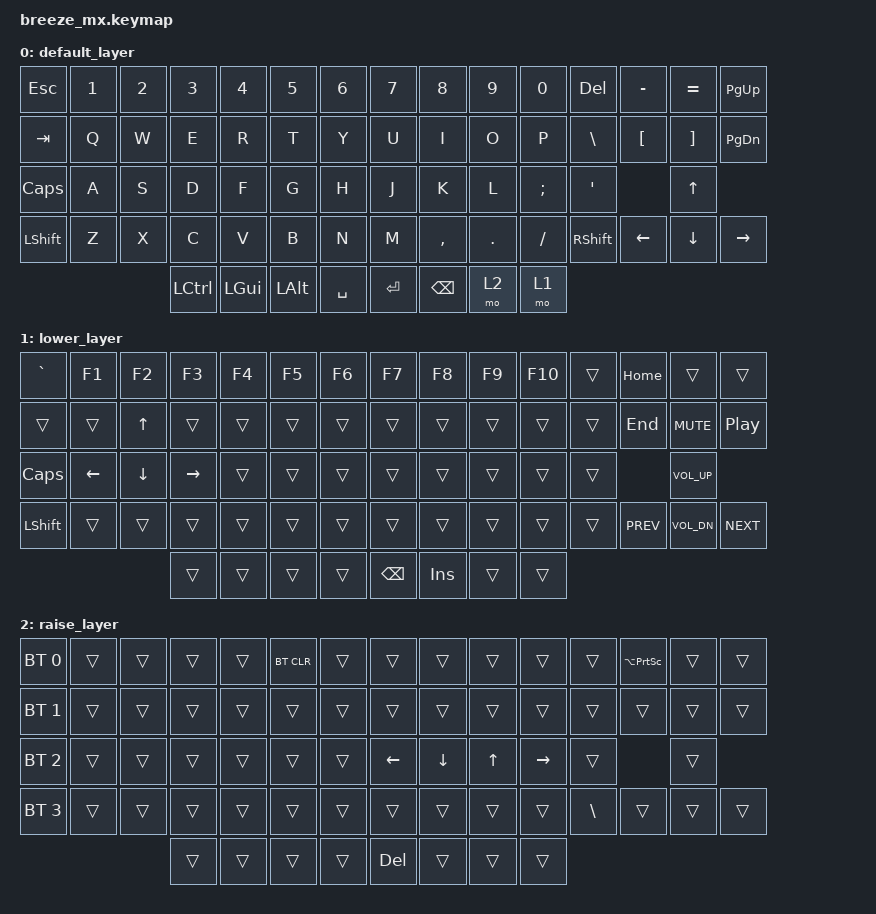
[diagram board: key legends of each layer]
/*
 * Copyright (c) 2022 The ZMK Contributors
 *
 * SPDX-License-Identifier: MIT
 */

#include <behaviors.dtsi>
#include <dt-bindings/zmk/keys.h>
#include <dt-bindings/zmk/bt.h>
#include <dt-bindings/zmk/ext_power.h>

/ {
	keymap {
		compatible = "zmk,keymap";

		default_layer {

// Ref: https://zmkfirmware.dev/docs/codes/

// ----------------------------------------------------------------------------------------------------------------------------------
// |  ESC  |  1  |  2  |  3   |  4   |  5   |                   |  6   |  7    |  8    |  9   |   0   |  DEL  | | -/_ | =/+  | PGUP |
// |  TAB  |  Q  |  W  |  E   |  R   |  T   |                   |  Y   |  U    |  I    |  O   |   P   |   \   | |  [  |  ]   | PGDN |
// | CAPS  |  A  |  S  |  D   |  F   |  G   |                   |  H   |  J    |  K    |  L   |   ;   |   '   | |     |  UP  |      |
// | SHIFT |  Z  |  X  |  C   |  V   |  B   |                   |  N   |  M    |  ,    |  .   |   /   | SHIFT | |  L  |  DN  |  R   |
//                     | LCTRL | GUI  | ALT  | SPACE |   | ENTER | BSPC | RAISE | LOWER |
			bindings = <
&kp ESC   &kp N1 &kp N2 &kp N3  &kp N4   &kp N5                     &kp N6   &kp N7   &kp N8    &kp N9  &kp N0   &kp DEL    &kp MINUS &kp EQUAL &kp PG_UP
&kp TAB   &kp Q  &kp W  &kp E   &kp R    &kp T                      &kp Y    &kp U    &kp I     &kp O   &kp P    &kp BSLH   &kp LBKT  &kp RBKT  &kp PG_DN
&kp CAPS  &kp A  &kp S  &kp D   &kp F    &kp G                      &kp H    &kp J    &kp K     &kp L   &kp SEMI &kp APOS             &kp UP 
&kp LSHFT &kp Z  &kp X  &kp C   &kp V    &kp B                      &kp N    &kp M    &kp COMMA &kp DOT &kp FSLH &kp RSHFT  &kp LEFT  &kp DOWN  &kp RIGHT
                        &kp LCTRL &kp LGUI &kp LALT &kp SPACE &kp RET &kp BSPC &mo 2    &mo 1
			>;
		};

		lower_layer {
// ---------------------------------------------------------------------------------------------------------------------------------- 
// | GRAVE |  F1 |  F2 |  F3  |  F4  |  F5  |                   |  F6  |  F7  |  F8  |  F9  | F10  |       | | HOME  |      |      | 
// |      |     |  ↑  |      |      |      |                   |      |      |      |      |       |       | |  END  | Mute | Play | 
// | CAPS |  ←  |  ↓  |  →   |      |      |                   |      |      |      |      |       |       | |       | Vol+ |      | 
// | SHIFT |     |     |      |      |      |                   |      |      |      |      |       |       | | Prev  | Vol- | Next | 
//                    |      |      |      |        |  |  BSPC | INS  |      |      |
			bindings = <
&kp GRAVE   &kp F1  &kp F2  &kp F3  &kp F4  &kp F5                       &kp F6  &kp F7  &kp F8  &kp F9 &kp F10 &trans &kp HOME  &trans        &trans    
&trans   &trans  &kp UP  &trans  &trans  &trans                       &trans  &trans  &trans  &trans  &trans  &trans  &kp END  &kp C_MUTE    &kp C_PLAY_PAUSE 
&kp CAPS &kp LEFT &kp DOWN &kp RIGHT  &trans  &trans                       &trans  &trans  &trans  &trans  &trans  &trans             &kp C_VOL_UP
&kp LSHFT   &trans  &trans  &trans  &trans  &trans                       &trans  &trans  &trans  &trans  &trans  &trans  &kp C_PREV &kp C_VOL_DN  &kp C_NEXT
                         &trans  &trans  &trans  &trans     &kp BSPC  &kp INS &trans  &trans
			>;
		};

		raise_layer {
// ---------------------------------------------------------------------------------------------------------------------------------- 
// | BT1 |     |     |      |      | BT_CLR |                   |      |       |       |      |       |       | | LA PSCRN |      |      | 
// | BT2 |     |     |      |      |        |                   |      |       |       |      |       |       | |     |      |      | 
// | BT3 |     |     |      |      |        |                   |      |   <-  |   ↓   |  ↑   |  →   |       | |     |      |      | 
// | BT4 |     |     |      |      |        |                   |      |       |       |      |       |   \   | |     |      |      | 
//                   |      |      |        |        |  |  DEL  |      |       |       |
			bindings = <
&bt BT_SEL 0 &trans &trans &trans  &trans  &bt BT_CLR                   &trans  &trans   &trans   &trans  &trans    &trans     &kp LA(PSCRN) &trans &trans 
&bt BT_SEL 1 &trans &trans &trans  &trans  &trans                       &trans  &trans   &trans   &trans  &trans    &trans     &trans &trans &trans
&bt BT_SEL 2 &trans &trans &trans  &trans  &trans                       &trans  &kp LEFT &kp DOWN &kp UP  &kp RIGHT &trans            &trans        
&bt BT_SEL 3 &trans &trans &trans  &trans  &trans                       &trans  &trans   &trans   &trans  &trans    &kp BSLH   &trans &trans &trans 
                           &trans  &trans  &trans    &trans    &kp DEL  &trans  &trans   &trans
			>;
		};
	};
};
